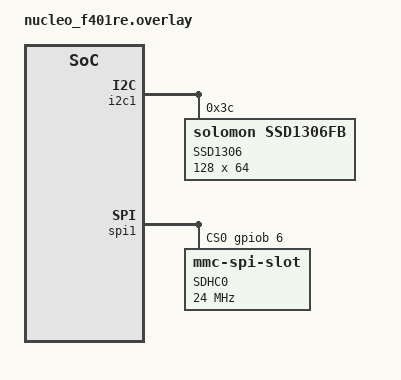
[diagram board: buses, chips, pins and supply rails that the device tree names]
&i2c1 {
	status = "ok";

	ssd1306@3c {
		compatible = "solomon,ssd1306fb";
		reg = <0x3c>;
		label = "SSD1306";
		width = <128>;
		height = <64>;
		segment-offset = <0>;
		page-offset = <0>;
		display-offset = <1>;
		prechargep = <0x22>;
	};
};

&spi1 {
        status = "ok";
        cs-gpios = <&gpiob 6 0>;

        sdhc0: sdhc@0 {
                compatible = "zephyr,mmc-spi-slot";
                reg = <0>;
                status = "ok";
                label = "SDHC0";
                spi-max-frequency = <24000000>;
        };
};
